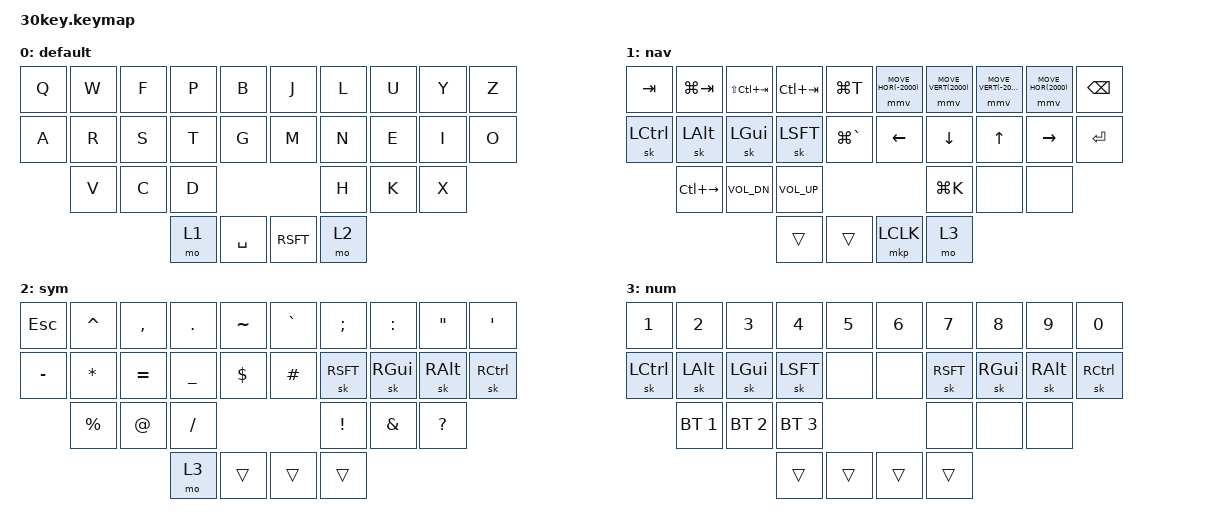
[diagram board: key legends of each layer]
#include <behaviors.dtsi>
#include <dt-bindings/zmk/keys.h>
#include <dt-bindings/zmk/mouse.h>
#include <dt-bindings/zmk/bt.h>

/ {
   combos {
      compatible = "zmk,combos";

      // default layer
      combo_square_open {
        timeout-ms = <50>;
        key-positions = <1 11>;
        bindings = <&kp LBKT>;
        layers = <0>;
      };
      combo_curly_open {
        timeout-ms = <50>;
        key-positions = <2 12>;
        bindings = <&kp LCUR>;
        layers = <0>;
      };
      combo_paren_open {
        timeout-ms = <50>;
        key-positions = <3 13>;
        bindings = <&kp LPAR>;
        layers = <0>;
      };
      combo_square_close {
        timeout-ms = <50>;
        key-positions = <8 18>;
        bindings = <&kp RBKT>;
        layers = <0>;
      };
      combo_curly_close {
        timeout-ms = <50>;
        key-positions = <7 17>;
        bindings = <&kp RCUR>;
        layers = <0>;
      };
      combo_paren_close {
        timeout-ms = <50>;
        key-positions = <6 16>;
        bindings = <&kp RPAR>;
        layers = <0>;
      };


      // nav layer
      combo_first_tab {
        timeout-ms = <50>;
        key-positions = <2 12>;
        bindings = <&kp LG(N1)>;
        layers = <1>;
      };
      combo_last_tab {
        timeout-ms = <50>;
        key-positions = <3 13>;
        bindings = <&kp LG(N9)>;
        layers = <1>;
      };
      combo_new_tab {
        timeout-ms = <50>;
        key-positions = <4 14>;
        bindings = <&kp LG(N)>;
        layers = <1>;
      };


      // sym layer
      combo_lt {
        timeout-ms = <50>;
        key-positions = <1 11>;
        bindings = <&kp LT>;
        layers = <2>;
      };
      combo_gt {
        timeout-ms = <50>;
        key-positions = <2 12>;
        bindings = <&kp GT>;
        layers = <2>;
      };
      combo_plus {
        timeout-ms = <50>;
        key-positions = <12 21>;
        bindings = <&kp PLUS>;
        layers = <2>;
      };
      combo_bslash {
        timeout-ms = <50>;
        key-positions = <13 22>;
        bindings = <&kp BSLH>;
        layers = <2>;
      };
      combo_pipe {
        timeout-ms = <50>;
        key-positions = <11 20>;
        bindings = <&kp PIPE>;
        layers = <2>;
      };


      // num layer
      combo_num_left_pinky {
        timeout-ms = <50>;
        key-positions = <0 10>;
        bindings = <&bt BT_SEL 0>;
        layers = <3>;
      };

      combo_num_bot {
        timeout-ms = <50>;
        key-positions = <23 24>;
        bindings = <&bt BT_CLR>;
        layers = <3>;
      };
    };
    behaviors {
      mmv {
        delay-ms = <0>;
        acceleration-exponent=<1>;
        time-to-max-speed-ms = <500>;
      };
      mwh {
        delay-ms = <0>;
        acceleration-exponent=<1>;
        time-to-max-speed-ms = <0>;
      };
    };

    macros {
    };

        keymap {
                compatible = "zmk,keymap";

                default {
// -----------------------------------------------------------------
// |  Q  |  W  |  F  |  P  |  B  |   |  J  |  L  |  U  |  Y  |  Z  |
// |  A  |  R  |  S  |  T  |  G  |   |  M  |  N  |  E  |  I  |  O  |
// |     |  V  |  C  |  D  |     |   |     |  H  |  K  |  X  |     |
//                   | nav | spc |   | sft | sym |
                        bindings = <
   &kp Q &kp W &kp F &kp P &kp B     &kp J &kp L &kp U &kp Y &kp Z
   &kp A &kp R &kp S &kp T &kp G     &kp M &kp N &kp E &kp I &kp O
         &kp V &kp C &kp D                 &kp H &kp K &kp X
                   &mo 1 &kp SPC     &kp RSFT &mo 2
                   >;
                };

                nav {
// ---------------------------------------------------------------------------
// |  tab | sapp | tabr | tabl | tabn |   | mlft | mdwn |  mup | mrgt | bspc |
// | ctrl |  alt | cmd  | shft | swin |   | left | down |   up | rght | entr |
// |      | spcr | vldn | vldn |      |   |      | pdwn | pgup | swpl |      |
//                      |      |      |   | lclk |  num |
                        bindings = <
   &kp TAB  &kp LG(TAB)   &kp LS(LC(TAB)) &kp LC(TAB)  &kp LG(T)         &mmv MOVE_HOR(-2000) &mmv MOVE_VERT(2000) &mmv MOVE_VERT(-2000) &mmv MOVE_HOR(2000) &kp BSPC
   &sk LCTL &sk LALT      &sk LGUI        &sk LSFT     &kp LG(GRAVE)     &kp LEFT             &kp DOWN             &kp UP                &kp RIGHT           &kp RET
            &kp LC(RIGHT) &kp C_VOL_DN    &kp C_VOL_UP                                        &kp LG(K)            &none                 &none
                                                       &trans &trans     &mkp LCLK &mo 3
                      >;
                };

                sym {
// -----------------------------------------------------------------
// | ESC |  ^  |  ,  |  .  |  ~  |   |  `  |  ;  |  :  |  "  |  '  |
// |  -  |  *  |  =  |  _  |  $  |   |  #  | SFT | CMD | ALT | CTL |
// |     |  |  |  @  |  /  |     |   |     |  !  |  &  |  ?  |     |
//                   |     | ADJ |   |     |     |
                        bindings = <
   &kp ESC   &kp CARET &kp COMMA &kp DOT   &kp TILDE     &kp GRAVE &kp SEMI  &kp COLON &kp DQT   &kp SQT
   &kp MINUS &kp STAR  &kp EQUAL &kp UNDER &kp DLLR      &kp HASH  &sk RSFT  &sk RGUI  &sk RALT  &sk RCTL
             &kp PRCNT &kp AT    &kp FSLH                          &kp EXCL  &kp AMPS  &kp QMARK
                                       &mo 3 &trans     &trans &trans
                       >;
                };

                num {
// -------------------------------------------------------------------
// |  1  |  2  |  3  |  4  |  5  |   |  6  |  7  |  8  |  9  |  0  |
// | CTL | ALT | GUI | SFT |     |   |     | SFT | GUI | ALT | CTL |
// |     | bt1 | bt2 | bt3 |     |   |     |     |     |     |     |
//                   |     |     |   |     |     |
                        bindings = <
   &kp N1   &kp N2       &kp N3       &kp N4       &kp N5     &kp N6 &kp N7   &kp N8   &kp N9   &kp N0
   &sk LCTL &sk LALT     &sk LGUI     &sk LSFT     &none      &none  &sk RSFT &sk RGUI &sk RALT &sk RCTL
            &bt BT_SEL 1 &bt BT_SEL 2 &bt BT_SEL 3                   &none    &none    &none
                                            &trans &trans     &trans &trans
                      >;
                };
        };
};
